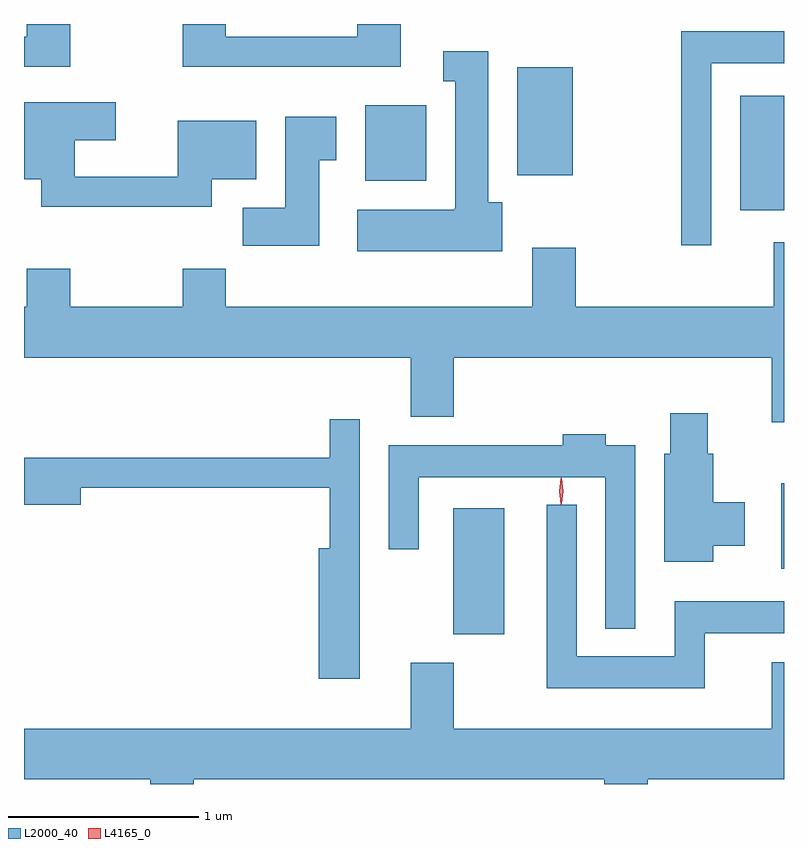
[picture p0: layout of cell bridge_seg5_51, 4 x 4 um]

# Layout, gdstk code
import gdstk
lib = gdstk.Library(unit=1e-6, precision=1e-09)
def R(c, l, rs):  # rectangles x0, y0, x1, y1
    for r in rs: c.add(gdstk.rectangle(r[:2], r[2:], *l))
def P(c, l, *ps):  # polygons
    for p in ps: c.add(gdstk.Polygon(p, *l))
L2000_40 = (2000, 40)
L4165_0 = (4165, 0)

bridge_seg5_51 = lib.new_cell('bridge_seg5_51')
R(bridge_seg5_51, L2000_40, [(1326.006,1466.441,1326.274,1467.104), (1327.731,1466.786,1327.746,1467.234), (1327.516,1468.671,1327.746,1469.274), (1325.541,1468.826,1325.864,1469.224), (1326.341,1468.856,1326.634,1469.424)])
P(bridge_seg5_51, L2000_40, [(1325.729,1469.652),(1325.501,1469.652),(1325.501,1469.584),(1324.809,1469.584),(1324.809,1469.652),(1324.581,1469.652),(1324.581,1469.426),(1325.729,1469.426)],
  [(1323.989,1469.652),(1323.761,1469.652),(1323.761,1469.584),(1323.746,1469.584),(1323.746,1469.426),(1323.989,1469.426)],
  [(1327.364,1469.446),(1327.746,1469.446),(1327.746,1469.614),(1327.206,1469.614),(1327.206,1468.488),(1327.364,1468.488)],
  [(1326.264,1468.714),(1326.189,1468.714),(1326.189,1469.509),(1325.953,1469.509),(1325.953,1469.351),(1326.016,1469.351),(1326.016,1468.68),(1326.01,1468.68),(1326.01,1468.674),(1325.501,1468.674),(1325.501,1468.456),(1326.264,1468.456)],
  [(1324.734,1468.836),(1324.969,1468.836),(1324.969,1469.144),(1324.556,1469.144),(1324.556,1468.849),(1324.014,1468.849),(1324.014,1469.041),(1324.229,1469.041),(1324.229,1469.239),(1323.746,1469.239),(1323.746,1468.836),(1323.836,1468.836),(1323.836,1468.691),(1324.734,1468.691)],
  [(1325.299,1468.936),(1325.389,1468.936),(1325.389,1469.164),(1325.121,1469.164),(1325.121,1468.684),(1324.896,1468.684),(1324.896,1468.486),(1325.299,1468.486)],
  [(1327.746,1468.504),(1327.691,1468.504),(1327.691,1468.164),(1326.649,1468.164),(1326.649,1468.474),(1326.421,1468.474),(1326.421,1468.164),(1324.809,1468.164),(1324.809,1468.364),(1324.581,1468.364),(1324.581,1468.164),(1323.989,1468.164),(1323.989,1468.364),(1323.761,1468.364),(1323.761,1468.164),(1323.746,1468.164),(1323.746,1467.896),(1325.781,1467.896),(1325.781,1467.586),(1326.009,1467.586),(1326.009,1467.896),(1327.681,1467.896),(1327.681,1467.556),(1327.746,1467.556)],
  [(1327.374,1466.906),(1327.539,1466.906),(1327.539,1467.134),(1327.374,1467.134),(1327.374,1467.389),(1327.344,1467.389),(1327.344,1467.604),(1327.146,1467.604),(1327.146,1467.389),(1327.116,1467.389),(1327.116,1466.821),(1327.374,1466.821)],
  [(1325.514,1467.573),(1325.356,1467.573),(1325.356,1467.369),(1323.746,1467.369),(1323.746,1467.121),(1324.044,1467.121),(1324.044,1467.211),(1325.356,1467.211),(1325.356,1466.894),(1325.296,1466.894),(1325.296,1466.206),(1325.514,1466.206)],
  [(1326.964,1467.434),(1326.809,1467.434),(1326.809,1467.494),(1326.581,1467.494),(1326.581,1467.434),(1325.666,1467.434),(1325.666,1466.888),(1325.824,1466.888),(1325.824,1467.266),(1326.806,1467.266),(1326.806,1466.468),(1326.964,1466.468)],
  [(1327.329,1466.446),(1327.746,1466.446),(1327.746,1466.614),(1327.171,1466.614),(1327.171,1466.324),(1326.654,1466.324),(1326.654,1467.123),(1326.496,1467.123),(1326.496,1466.156),(1327.329,1466.156)],
  [(1324.639,1465.676),(1326.801,1465.676),(1326.801,1465.652),(1327.029,1465.652),(1327.029,1465.676),(1327.746,1465.676),(1327.746,1466.294),(1327.681,1466.294),(1327.681,1465.944),(1326.009,1465.944),(1326.009,1466.289),(1325.781,1466.289),(1325.781,1465.944),(1323.746,1465.944),(1323.746,1465.676),(1324.411,1465.676),(1324.411,1465.652),(1324.639,1465.652)])
P(bridge_seg5_51, L4165_0, [(1326.573,1467.123),(1326.572,1467.124),(1326.563,1467.193),(1326.572,1467.262),(1326.573,1467.263),(1326.573,1467.262),(1326.583,1467.193),(1326.573,1467.124)],
  [(1326.574,1467.127),(1326.574,1467.128),(1326.564,1467.194),(1326.574,1467.26),(1326.574,1467.26),(1326.575,1467.26),(1326.584,1467.194),(1326.575,1467.128)])

lib.write_gds('bridge_seg5_51.gds')
